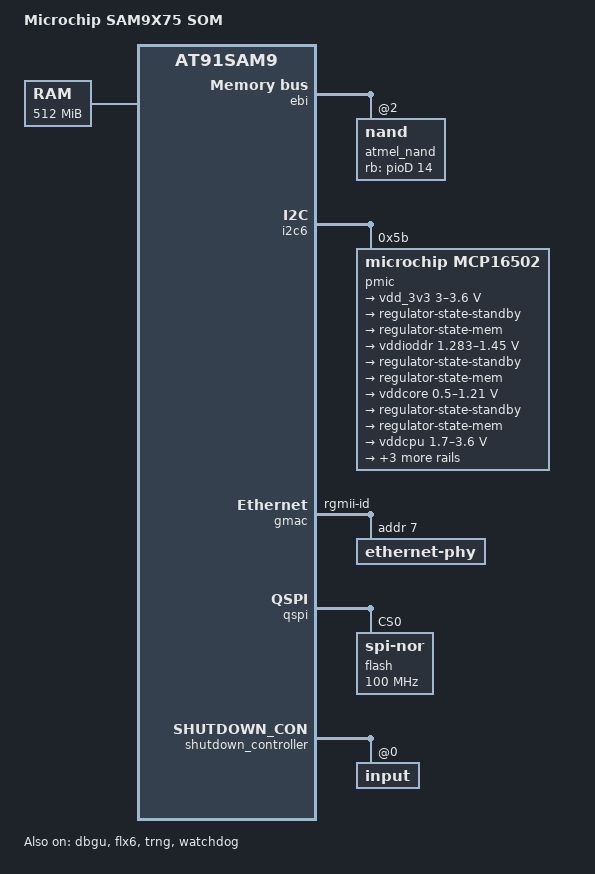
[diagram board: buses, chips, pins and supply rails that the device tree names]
// SPDX-License-Identifier: (GPL-2.0+ OR MIT)
/*
 * sam9x75_som.dtsi - Device Tree file for Microchip SAM9X75 SOM
 *
 * Copyright (C) 2025 Microchip Technology Inc. and its subsidiaries
 *
 * Author: Romain Sioen <romain.sioen@microchip.com>
 */

#include "sam9x7.dtsi"
#include <dt-bindings/input/input.h>

/ {
	model = "Microchip SAM9X75 SOM";
	compatible = "microchip,sam9x7", "atmel,at91sam9";

	aliases {
		i2c0 = &i2c6;
	};

	chosen {
		stdout-path = "serial0:115200n8";
	};

	memory@20000000 {
		device_type = "memory";
		reg = <0x20000000 0x20000000>;
	};
};

&dbgu {
	pinctrl-names = "default";
	pinctrl-0 = <&pinctrl_dbgu>;
	status = "okay";
};

&dma0 {
	status = "okay";
};

&ebi {
	pinctrl-names = "default";
	pinctrl-0 = <&pinctrl_ebi_addr_nand &pinctrl_ebi_data_0_7>;
	status = "okay";

	nand_controller: nand-controller {
		pinctrl-names = "default";
		pinctrl-0 = <&pinctrl_nand_oe_we &pinctrl_nand_cs &pinctrl_nand_rb>;
		status = "okay";

		nand@2 {
			reg = <0x2 0x0 0x800000>;
			rb-gpios = <&pioD 14 GPIO_ACTIVE_HIGH>;
			cs-gpios = <&pioD 4 GPIO_ACTIVE_HIGH>;
			nand-bus-width = <8>;
			nand-ecc-mode = "hw";
			nand-ecc-strength = <8>;
			nand-ecc-step-size = <512>;
			nand-on-flash-bbt;
			label = "atmel_nand";
		};
	};
};

&flx6 {
	atmel,flexcom-mode = <ATMEL_FLEXCOM_MODE_TWI>;
	status = "okay";
};

&i2c6 {
	#address-cells = <1>;
	#size-cells = <0>;
	pinctrl-names = "default";
	pinctrl-0 = <&pinctrl_flx6_twi_default>;
	i2c-analog-filter;
	i2c-digital-filter;
	i2c-digital-filter-width-ns = <35>;
	status = "okay";

	pmic@5b {
		compatible = "microchip,mcp16502";
		reg = <0x5b>;

		regulators {
			vdd_3v3: VDD_IO {
				regulator-name = "VDD_IO";
				regulator-min-microvolt = <3000000>;
				regulator-max-microvolt = <3600000>;
				regulator-initial-mode = <2>;
				regulator-allowed-modes = <2>, <4>;
				regulator-always-on;

				regulator-state-standby {
					regulator-on-in-suspend;
					regulator-mode = <4>;
				};

				regulator-state-mem {
					regulator-mode = <4>;
				};
			};

			vddioddr: VDD_DDR {
				regulator-name = "VDD_DDR";
				regulator-min-microvolt = <1283000>;
				regulator-max-microvolt = <1450000>;
				regulator-initial-mode = <2>;
				regulator-allowed-modes = <2>, <4>;
				regulator-always-on;

				regulator-state-standby {
					regulator-on-in-suspend;
					regulator-mode = <4>;
				};

				regulator-state-mem {
					regulator-on-in-suspend;
					regulator-mode = <4>;
				};
			};

			vddcore: VDD_CORE {
				regulator-name = "VDD_CORE";
				regulator-min-microvolt = <500000>;
				regulator-max-microvolt = <1210000>;
				regulator-initial-mode = <2>;
				regulator-allowed-modes = <2>, <4>;
				regulator-always-on;

				regulator-state-standby {
					regulator-on-in-suspend;
					regulator-mode = <4>;
				};

				regulator-state-mem {
					regulator-mode = <4>;
				};
			};

			vddcpu: VDD_OTHER {
				regulator-name = "VDD_OTHER";
				regulator-min-microvolt = <1700000>;
				regulator-max-microvolt = <3600000>;
				regulator-initial-mode = <2>;
				regulator-allowed-modes = <2>, <4>;
				regulator-ramp-delay = <3125>;
				regulator-always-on;

				regulator-state-standby {
					regulator-on-in-suspend;
					regulator-mode = <4>;
				};

				regulator-state-mem {
					regulator-mode = <4>;
				};
			};

			vldo1: LDO1 {
				regulator-name = "LDO1";
				regulator-min-microvolt = <1200000>;
				regulator-max-microvolt = <3700000>;
				regulator-always-on;

				regulator-state-standby {
					regulator-on-in-suspend;
				};
			};
		};
	};
};

&gmac {
	phy-mode = "rgmii-id";
	#address-cells = <1>;
	#size-cells = <0>;

	pinctrl-names = "default";
	pinctrl-0 = <&pinctrl_macb0_rgmii>;
	magic-packet;
	status = "okay";

	ethernet-phy@7 {
		reg = <0x7>;
	};
};

&main_xtal {
	clock-frequency = <24000000>;
};

&pinctrl {
	dbgu {
		pinctrl_dbgu: dbgu {
			atmel,pins = <AT91_PIOA 26 AT91_PERIPH_A AT91_PINCTRL_PULL_UP
				      AT91_PIOA 27 AT91_PERIPH_A AT91_PINCTRL_NONE>;
		};
	};

	ebi {
		pinctrl_ebi_data_0_7: ebi-data-lsb-0 {
			atmel,pins =
				<AT91_PIOD 6 AT91_PERIPH_A (AT91_PINCTRL_NONE | AT91_PINCTRL_SLEWRATE_DIS)
				 AT91_PIOD 7 AT91_PERIPH_A (AT91_PINCTRL_NONE | AT91_PINCTRL_SLEWRATE_DIS)
				 AT91_PIOD 8 AT91_PERIPH_A (AT91_PINCTRL_NONE | AT91_PINCTRL_SLEWRATE_DIS)
				 AT91_PIOD 9 AT91_PERIPH_A (AT91_PINCTRL_NONE | AT91_PINCTRL_SLEWRATE_DIS)
				 AT91_PIOD 10 AT91_PERIPH_A (AT91_PINCTRL_NONE | AT91_PINCTRL_SLEWRATE_DIS)
				 AT91_PIOD 11 AT91_PERIPH_A (AT91_PINCTRL_NONE | AT91_PINCTRL_SLEWRATE_DIS)
				 AT91_PIOD 12 AT91_PERIPH_A (AT91_PINCTRL_NONE | AT91_PINCTRL_SLEWRATE_DIS)
				 AT91_PIOD 13 AT91_PERIPH_A (AT91_PINCTRL_NONE | AT91_PINCTRL_SLEWRATE_DIS)>;
		};

		pinctrl_ebi_addr_nand: ebi-addr-0 {
			atmel,pins =
				<AT91_PIOD 2 AT91_PERIPH_A (AT91_PINCTRL_NONE | AT91_PINCTRL_SLEWRATE_DIS)
				 AT91_PIOD 3 AT91_PERIPH_A (AT91_PINCTRL_NONE | AT91_PINCTRL_SLEWRATE_DIS)>;
		};
	};

	qspi {
		pinctrl_qspi: pinctrl-qspi {
			atmel,pins =
				<AT91_PIOB 19 AT91_PERIPH_A AT91_PINCTRL_SLEWRATE_DIS
				 AT91_PIOB 20 AT91_PERIPH_A AT91_PINCTRL_SLEWRATE_DIS
				 AT91_PIOB 21 AT91_PERIPH_A (AT91_PINCTRL_PULL_UP | AT91_PINCTRL_SLEWRATE_DIS)
				 AT91_PIOB 22 AT91_PERIPH_A (AT91_PINCTRL_PULL_UP | AT91_PINCTRL_SLEWRATE_DIS)
				 AT91_PIOB 23 AT91_PERIPH_A (AT91_PINCTRL_PULL_UP | AT91_PINCTRL_SLEWRATE_DIS)
				 AT91_PIOB 24 AT91_PERIPH_A (AT91_PINCTRL_PULL_UP | AT91_PINCTRL_SLEWRATE_DIS)>;
		};
	};

	flexcom {
		pinctrl_flx6_twi_default: flx6-twi-default {
			atmel,pins =
				<AT91_PIOA 24 AT91_PERIPH_A AT91_PINCTRL_PULL_UP
				 AT91_PIOA 25 AT91_PERIPH_A AT91_PINCTRL_PULL_UP>;
		};
	};

	macb0 {
		pinctrl_macb0_rgmii: macb0_rgmii-0 {
			atmel,pins =
				<AT91_PIOB 13 AT91_PERIPH_A  AT91_PINCTRL_SLEWRATE_DIS				/* ETH_TX0   */
				 AT91_PIOB 14 AT91_PERIPH_A  AT91_PINCTRL_SLEWRATE_DIS				/* ETH_TX1   */
				 AT91_PIOB 4  AT91_PERIPH_A  AT91_PINCTRL_SLEWRATE_DIS				/* ETH_TX2   */
				 AT91_PIOB 5  AT91_PERIPH_A  AT91_PINCTRL_SLEWRATE_DIS				/* ETH_TX3   */
				 AT91_PIOB 7  AT91_PERIPH_A  AT91_PINCTRL_SLEWRATE_DIS				/* ETH_TXCTL  */
				 AT91_PIOB 6  AT91_PERIPH_A (AT91_PINCTRL_PULL_UP | AT91_PINCTRL_SLEWRATE_DIS)	/* ETH_TXCK  */

				 AT91_PIOB 11 AT91_PERIPH_A  AT91_PINCTRL_SLEWRATE_DIS				/* ETH_RX0   */
				 AT91_PIOB 12 AT91_PERIPH_A  AT91_PINCTRL_SLEWRATE_DIS				/* ETH_RX1   */
				 AT91_PIOB 0  AT91_PERIPH_A  AT91_PINCTRL_SLEWRATE_DIS				/* ETH_RX2   */
				 AT91_PIOB 1  AT91_PERIPH_A  AT91_PINCTRL_SLEWRATE_DIS				/* ETH_RX3   */
				 AT91_PIOB 8  AT91_PERIPH_A  AT91_PINCTRL_SLEWRATE_DIS				/* ETH_RXCK   */
				 AT91_PIOB 3  AT91_PERIPH_A  AT91_PINCTRL_SLEWRATE_DIS				/* ETH_RXCTL */

				 AT91_PIOB 10 AT91_PERIPH_A     AT91_PINCTRL_NONE				/* ETH_MDC   */
				 AT91_PIOB 9  AT91_PERIPH_A     AT91_PINCTRL_NONE				/* ETH_MDIO  */

				 AT91_PIOB 2  AT91_PERIPH_A  AT91_PINCTRL_SLEWRATE_DIS				/* ETH_125CK */
				 AT91_PIOD 5  AT91_PERIPH_A  AT91_PINCTRL_SLEWRATE_DIS>;			/* ETH_INT   */
		};
	};

	nand {
		pinctrl_nand_oe_we: nand-oe-we-0 {
			atmel,pins =
				<AT91_PIOD 0 AT91_PERIPH_A (AT91_PINCTRL_NONE | AT91_PINCTRL_SLEWRATE_DIS)
				 AT91_PIOD 1 AT91_PERIPH_A (AT91_PINCTRL_NONE | AT91_PINCTRL_SLEWRATE_DIS)>;
		};

		pinctrl_nand_rb: nand-rb-0 {
			atmel,pins =
				<AT91_PIOD 14 AT91_PERIPH_GPIO AT91_PINCTRL_PULL_UP>;
		};

		pinctrl_nand_cs: nand-cs-0 {
			atmel,pins =
				<AT91_PIOD 4 AT91_PERIPH_GPIO AT91_PINCTRL_PULL_UP>;
		};
	};
}; /* pinctrl */

&rtt {
	atmel,rtt-rtc-time-reg = <&gpbr 0x0>;
};

&qspi {
	pinctrl-names = "default";
	pinctrl-0 = <&pinctrl_qspi>;
	status = "okay";

	flash@0 {
		#address-cells = <1>;
		#size-cells = <1>;
		compatible = "jedec,spi-nor";
		reg = <0>;
		spi-max-frequency = <100000000>;
		spi-tx-bus-width = <4>;
		spi-rx-bus-width = <4>;
		m25p,fast-read;

		at91bootstrap@0 {
			label = "qspi: at91bootstrap";
			reg = <0x0 0x40000>;
		};

		bootloader@40000 {
			label = "qspi: bootloader";
			reg = <0x40000 0xc0000>;
		};

		bootloaderenvred@100000 {
			label = "qspi: bootloader env redundant";
			reg = <0x100000 0x40000>;
		};

		bootloaderenv@140000 {
			label = "qspi: bootloader env";
			reg = <0x140000 0x40000>;
		};

		dtb@180000 {
			label = "qspi: device tree";
			reg = <0x180000 0x80000>;
		};

		kernel@200000 {
			label = "qspi: kernel";
			reg = <0x200000 0x600000>;
		};
	};
};

&slow_xtal {
	clock-frequency = <32768>;
};

&shutdown_controller {
	debounce-delay-us = <976>;
	status = "okay";

	input@0 {
		reg = <0>;
	};
};

&trng {
	status = "okay";
};

&watchdog {
	status = "okay";
};
